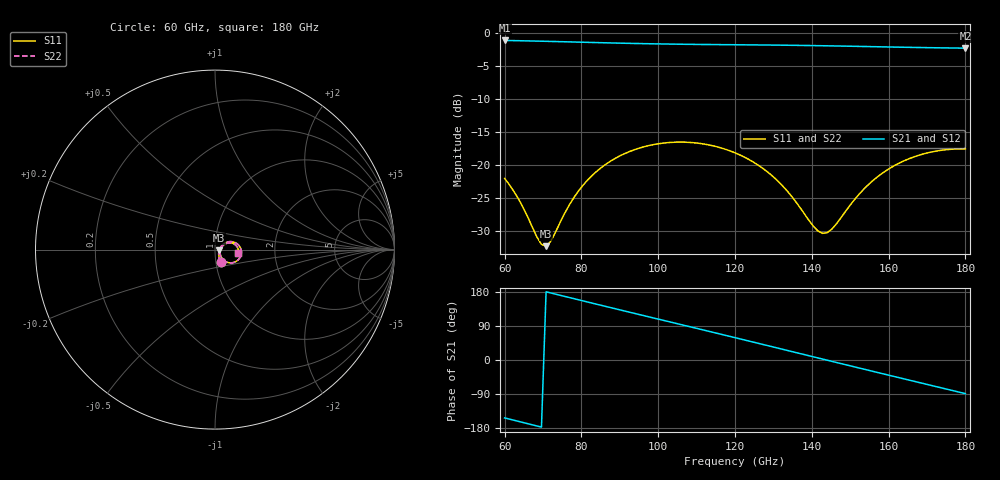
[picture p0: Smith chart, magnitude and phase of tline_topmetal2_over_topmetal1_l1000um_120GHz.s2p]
#  GHZ S DB R 50
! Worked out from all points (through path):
!   101 points, 60 GHz to 180 GHz, reference 50 ohm
!   highest |S21| = -1.20 dB at 60 GHz (marker M1); lowest = -2.4 dB at 180 GHz (marker M2)
!   group delay of S21, straight-line fit = 6.84 ps
!   lowest |S11| = -32.4 dB at 70.8 GHz (marker M3), VSWR 1.05, Z = 52.4 - j0.456 ohm
!   |S11| at or under -10 dB: start of sweep to end of sweep
!   |S22| runs from -32.5 to -16.6 dB; largest |S21 - S12| = 1.4e-15
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60  -22.09 -62.9  -1.20 -152.9  -1.20 -152.9  -22.08 -63.5
63.6  -25.19 -63.1  -1.24 -161.9  -1.24 -161.9  -25.19 -63.8
68.4  -30.95 -41.9  -1.30 -174.0  -1.30 -174.0  -31.05 -42.9
69.6  -32.08 -27.6  -1.31 -177.0  -1.31 -177.0  -32.23 -28.5
70.8  -32.35 -10.4  -1.33 180.0  -1.33 180.0  -32.53 -10.9
72  -31.62 5.6  -1.35 177.0  -1.35 177.0  -31.79 5.4
76.8  -26.16 31.9  -1.42 165.0  -1.42 165.0  -26.22 32.1
80.4  -23.14 33.0  -1.47 156.0  -1.47 156.0  -23.17 33.1
88.8  -19.06 22.4  -1.59 135.3  -1.59 135.3  -19.07 22.3
94.8  -17.55 11.6  -1.67 120.6  -1.67 120.6  -17.56 11.5
100.8  -16.78 0.2  -1.73 106.0  -1.73 106.0  -16.78 -0.0
110.4  -16.76 -18.5  -1.80 82.5  -1.80 82.5  -16.76 -18.8
120  -18.21 -36.3  -1.85 59.0  -1.85 59.0  -18.21 -36.6
126  -20.06 -45.7  -1.88 44.2  -1.88 44.2  -20.06 -46.1
130.8  -22.29 -50.7  -1.91 32.3  -1.91 32.3  -22.28 -51.1
140.4  -29.33 -33.0  -1.98 8.4  -1.98 8.4  -29.33 -33.5
142.8  -30.41 -13.8  -2.00 2.5  -2.00 2.5  -30.43 -14.3
145.2  -29.79 6.6  -2.02 -3.5  -2.02 -3.5  -29.81 6.2
153.6  -23.68 29.4  -2.11 -24.3  -2.11 -24.3  -23.68 29.0
160.8  -20.39 23.3  -2.20 -41.9  -2.20 -41.9  -20.39 22.9
170.4  -18.19 8.1  -2.29 -65.4  -2.29 -65.4  -18.18 7.7
180  -17.62 -9.1  -2.36 -88.7  -2.36 -88.7  -17.61 -9.4
